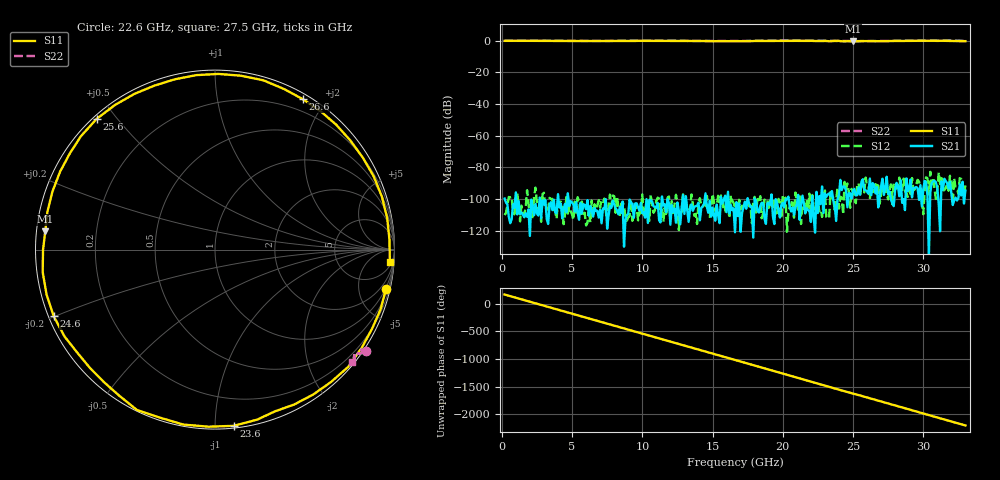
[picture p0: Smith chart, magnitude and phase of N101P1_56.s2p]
# GHZ S RI R 50
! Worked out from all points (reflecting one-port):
!   329 points, 200 MHz to 33 GHz, reference 50 ohm
!   lowest |S11| = -0.4 dB at 25 GHz (marker M1), VSWR 40.00, Z = 1.25 + j2.7 ohm
!   phase of S11 starts at 165 deg and turns -2368 deg over the sweep
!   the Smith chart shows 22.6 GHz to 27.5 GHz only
!   S11 on the Smith chart (normalised r, x): 22.6 GHz: 0.91, -8.80; 23.6 GHz: 0.01, -1.11; 24.6 GHz: 0.01, -0.20; 25.6 GHz: 0.01, +0.44; 26.6 GHz: 0.06, +1.74; 27.5 GHz: 9, -26
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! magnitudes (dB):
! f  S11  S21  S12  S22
! 200 MHz  0.0  -99.7  -110.1  0.0
! 5.7 GHz  -0.1  -109.2  -101.6  -0.1
! 11.2 GHz  0.0  -113.5  -99.7  0.1
! 16.6 GHz  -0.3  -121.0  -105.1  -0.1
! 20 GHz  0.0  -102.4  -97.4  0.2
! 22.1 GHz  -0.1  -98.1  -97.4  0.1
! 22.6 GHz  -0.2  -98.1  -107.7  0.1
! 23 GHz  -0.1  -96.5  -94.6  0.0
! 23.4 GHz  -0.3  -98.2  -95.5  -0.1
! 23.6 GHz  -0.1  -101.1  -99.0  0.0
! 24 GHz  -0.1  -97.4  -106.1  0.0
! 24.3 GHz  -0.4  -92.2  -109.7  -0.1
! 24.6 GHz  -0.2  -105.2  -90.1  -0.2
! 25 GHz  -0.4  -94.7  -95.6  -0.2
! 25.6 GHz  -0.2  -89.0  -89.9  -0.2
! 26.6 GHz  -0.3  -96.5  -90.6  -0.1
! 27.5 GHz  -0.2  -96.9  -100.2  -0.1
! 27.6 GHz  -0.2  -95.2  -94.9  -0.1
! 30.6 GHz  0.0  -89.8  -90.8  0.1
! 31.4 GHz  0.0  -94.1  -94.5  0.0
! 32 GHz  -0.2  -96.4  -88.2  0.2
! 33 GHz  -0.2  -94.6  -91.4  -0.2
